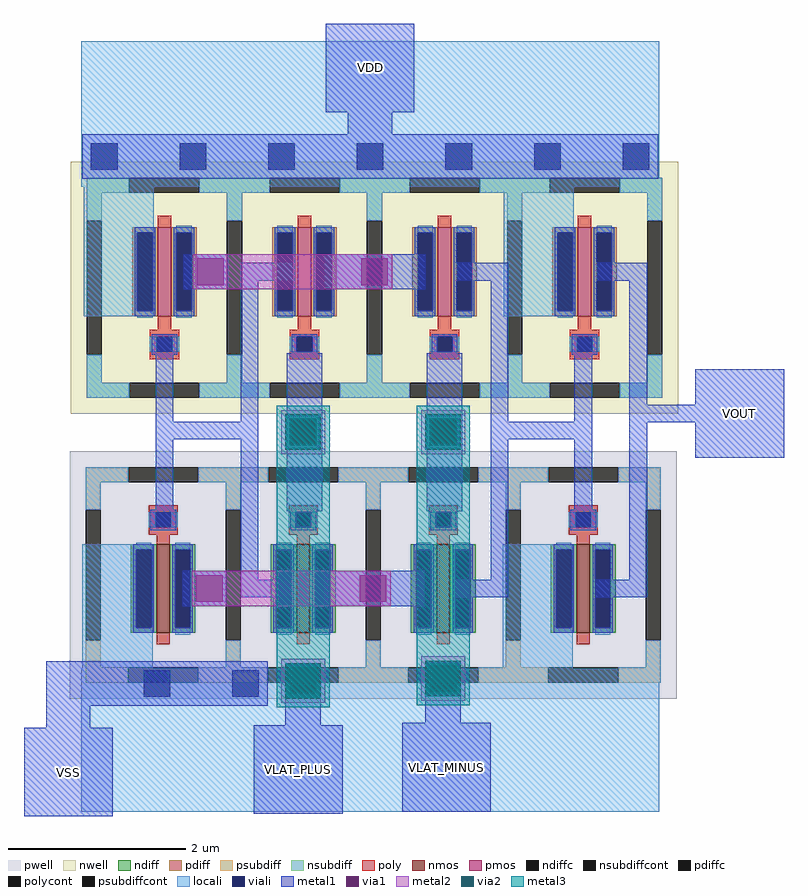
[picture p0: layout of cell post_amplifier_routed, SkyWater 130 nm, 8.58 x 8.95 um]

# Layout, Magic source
magic
tech sky130A
magscale 1 2
<< metal1 >>
rect 1735 -540 1815 -460
rect 1735 -1301 1815 -1021
rect 1724 -1301 1815 -1221
rect 1664 -1361 1864 -1161
rect 2051 -540 2131 -460
rect 2051 -1296 2131 -1016
rect 2051 -1296 2138 -1216
rect 1998 -1356 2198 -1156
rect 2387 -718 2427 -282
rect 2431 -873 2551 -833
rect 2511 -873 2551 -438
rect 2511 -478 2780 -438
rect 2511 -478 2551 -118
rect 2434 -158 2551 -118
rect 2118 -158 2238 -118
rect 2198 -516 2238 -118
rect 2198 -516 2427 -476
rect 2198 -873 2238 -476
rect 2115 -873 2238 -833
rect 2054 -678 2134 -322
rect 1738 -678 1818 -322
rect 1442 -718 1482 -282
rect 1634 -158 1754 -118
rect 1634 -516 1674 -118
rect 1442 -516 1674 -476
rect 1634 -873 1674 -476
rect 1634 -873 1751 -833
rect 2660 -558 2860 -358
rect 1822 -178 2050 -98
rect 1819 -893 2047 -813
rect 1506 -178 1606 -98
rect 1503 -893 1603 -813
rect 1826 222 2026 422
rect 1876 72 1976 372
rect 1676 72 1976 172
rect 1476 72 1776 172
rect 1276 72 1576 172
rect 1876 72 2176 172
rect 2076 72 2376 172
rect 2276 72 2576 172
rect 1145 -1367 1345 -1167
rect 1195 -1317 1295 -1017
rect 1195 -1117 1495 -1017
rect 1395 -1117 1695 -1017
<< via1 >>
rect 1745 -530 1805 -470
rect 1745 -1091 1805 -1031
rect 2061 -530 2121 -470
rect 2061 -1086 2121 -1026
rect 1536 -168 1596 -108
rect 1906 -168 1966 -108
rect 1533 -883 1593 -823
rect 1903 -883 1963 -823
<< metal2 >>
rect 1725 -550 1825 -450
rect 1725 -1111 1825 -1011
rect 2041 -550 2141 -450
rect 2041 -1106 2141 -1006
rect 1526 -178 1976 -98
rect 1523 -893 1973 -813
<< via2 >>
rect 1735 -540 1815 -460
rect 1735 -1101 1815 -1021
rect 2051 -540 2131 -460
rect 2051 -1096 2131 -1016
<< metal3 >>
rect 1715 -1121 1835 -440
rect 2031 -1116 2151 -440
<< locali >>
rect 2225 -1053 2383 -753
rect 2228 -238 2386 62
rect 1277 -1053 1435 -753
rect 1280 -238 1438 62
rect 1274 54 2578 382
rect 1274 -1356 2578 -1034
<< viali >>
rect 1896 92 1956 152
rect 1696 92 1756 152
rect 1496 92 1556 152
rect 1296 92 1356 152
rect 2096 92 2156 152
rect 2296 92 2356 152
rect 2496 92 2556 152
rect 1415 -1097 1475 -1037
rect 1615 -1097 1675 -1037
use sky130_fd_pr__nfet_01v8_D6NL62  XM1
transform 1 0 1775 0 1 -822
box -211 -279 211 279
use sky130_fd_pr__nfet_01v8_D6NL62  XM2
transform 1 0 2091 0 1 -822
box -211 -279 211 279
use sky130_fd_pr__nfet_01v8_D6NL62  XM3
transform 1 0 1459 0 1 -822
box -211 -279 211 279
use sky130_fd_pr__pfet_01v8_5ETXLA  XM4
transform 1 0 1778 0 1 -174
box -211 -284 211 284
use sky130_fd_pr__pfet_01v8_5ETXLA  XM5
transform 1 0 2094 0 1 -174
box -211 -284 211 284
use sky130_fd_pr__pfet_01v8_5ETXLA  XM6
transform 1 0 1462 0 1 -174
box -211 -284 211 284
use sky130_fd_pr__nfet_01v8_D6NL62  XM7
transform 1 0 2407 0 1 -822
box -211 -279 211 279
use sky130_fd_pr__pfet_01v8_5ETXLA  XM8
transform 1 0 2410 0 1 -174
box -211 -284 211 284
<< labels >>
flabel metal1 1826 222 2026 422 0 FreeSans 256 0 0 0 VDD
port 0 nsew
flabel metal1 2660 -558 2860 -358 0 FreeSans 256 0 0 0 VOUT
port 3 nsew
flabel metal1 1145 -1367 1345 -1167 0 FreeSans 256 0 0 0 VSS
port 4 nsew
flabel metal1 1664 -1361 1864 -1161 0 FreeSans 256 0 0 0 VLAT_PLUS
port 1 nsew
flabel metal1 1998 -1356 2198 -1156 0 FreeSans 256 0 0 0 VLAT_MINUS
port 2 nsew
<< end >>

# cell sky130_fd_pr__nfet_01v8_D6NL62: kit device sky130_fd_pr__nfet_01v8, w 1.0 l 0.15 m 1 nf 1 diffcov 100 polycov 100 guard 1 glc 1 grc 1 gtc 1 gbc 1 tbcov 100 rlcov 100 topc 1 botc 0 poverlap 0 doverlap 1 lmin 0.15 wmin 0.42 class mosfet compatible {sky130_fd_pr__nfet_01v8 sky130_fd_pr__nfet_01v8_lvt sky130_fd_bs_flash__special_sonosfet_star sky130_fd_pr__nfet_g5v0d10v5 sky130_fd_pr__nfet_05v0_nvt sky130_fd_pr__nfet_03v3_nvt} full_metal 1 viasrc 100 viadrn 100 viagate 100 viagb 0 viagr 0 viagl 0 viagt 0

# cell sky130_fd_pr__pfet_01v8_5ETXLA: kit device sky130_fd_pr__pfet_01v8, w 1.0 l 0.15 m 1 nf 1 diffcov 100 polycov 100 guard 1 glc 1 grc 1 gtc 1 gbc 1 tbcov 100 rlcov 100 topc 0 botc 1 poverlap 0 doverlap 1 lmin 0.15 wmin 0.42 class mosfet compatible {sky130_fd_pr__pfet_01v8 sky130_fd_pr__pfet_01v8_lvt sky130_fd_pr__pfet_01v8_hvt sky130_fd_pr__pfet_g5v0d10v5} full_metal 1 viasrc 100 viadrn 100 viagate 100 viagb 0 viagr 0 viagl 0 viagt 0
